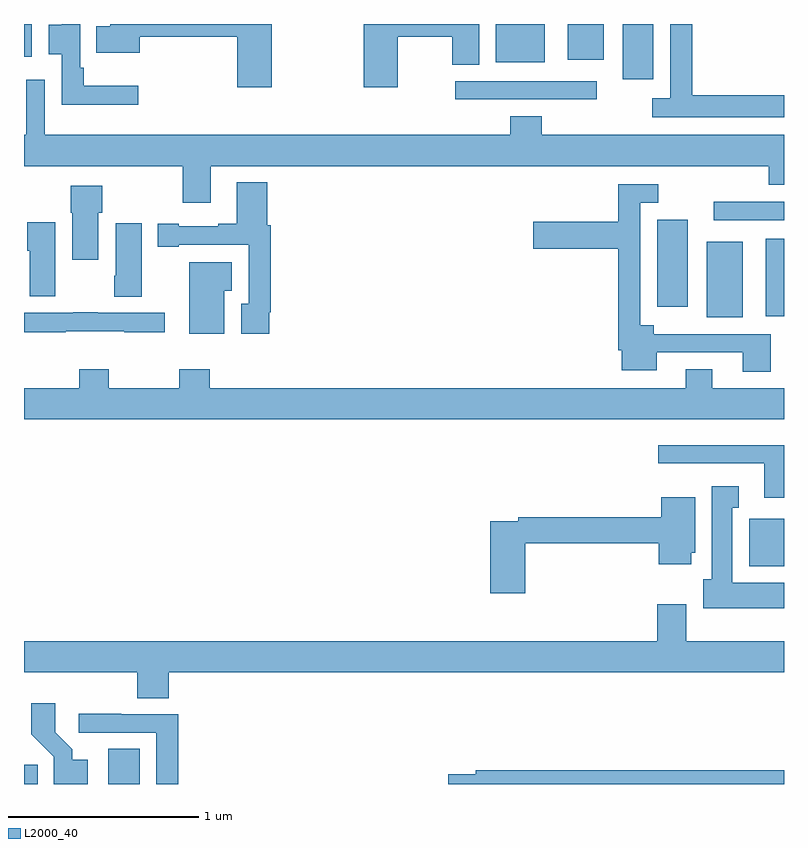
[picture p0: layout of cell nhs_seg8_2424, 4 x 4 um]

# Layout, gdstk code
import gdstk
lib = gdstk.Library(unit=1e-6, precision=1e-09)
def R(c, l, rs):  # rectangles x0, y0, x1, y1
    for r in rs: c.add(gdstk.rectangle(r[:2], r[2:], *l))
def P(c, l, *ps):  # polygons
    for p in ps: c.add(gdstk.Polygon(p, *l))
L2000_40 = (2000, 40)

nhs_seg8_2424 = lib.new_cell('nhs_seg8_2424')
R(nhs_seg8_2424, L2000_40, [(263,1127.9,263.072,1128.002), (263.444,1127.9,263.608,1128.085), (266.817,1129.046,267,1129.296), (266.594,1130.357,266.782,1130.755), (266.903,1130.363,267,1130.77), (266.333,1130.412,266.494,1130.869), (266.631,1130.868,267,1130.964), (265.269,1131.504,266.014,1131.6), (266.15,1131.609,266.311,1131.9), (265.484,1131.698,265.741,1131.9), (265.862,1131.713,266.05,1131.9), (263,1131.728,263.04,1131.9)])
P(nhs_seg8_2424, L2000_40, [(264.305,1131.9),(263.453,1131.9),(263.453,1131.889),(263.38,1131.889),(263.38,1131.749),(263.608,1131.749),(263.608,1131.832),(264.122,1131.832),(264.122,1131.567),(264.305,1131.567)],
  [(263.602,1131.574),(263.315,1131.574),(263.315,1131.67),(263.295,1131.67),(263.295,1131.9),(263.199,1131.9),(263.199,1131.897),(263.129,1131.897),(263.129,1131.742),(263.199,1131.742),(263.199,1131.476),(263.602,1131.476)],
  [(267,1131.524),(266.516,1131.524),(266.516,1131.9),(266.4,1131.9),(266.4,1131.508),(266.307,1131.508),(266.307,1131.408),(267,1131.408)],
  [(264.966,1131.832),(265.255,1131.832),(265.255,1131.685),(265.396,1131.685),(265.396,1131.9),(264.788,1131.9),(264.788,1131.567),(264.966,1131.567)],
  [(263.983,1131.152),(266.921,1131.152),(266.921,1131.053),(267,1131.053),(267,1131.316),(265.724,1131.316),(265.724,1131.415),(265.559,1131.415),(265.559,1131.316),(263.109,1131.316),(263.109,1131.607),(263.013,1131.607),(263.013,1131.316),(263,1131.316),(263,1131.152),(263.836,1131.152),(263.836,1130.958),(263.983,1130.958)],
  [(264.292,1130.383),(264.299,1130.383),(264.299,1130.842),(264.28,1130.842),(264.28,1131.067),(264.119,1131.067),(264.119,1130.848),(264.023,1130.848),(264.023,1130.835),(263.815,1130.835),(263.815,1130.848),(263.705,1130.848),(263.705,1130.727),(263.815,1130.727),(263.815,1130.739),(264.183,1130.739),(264.183,1130.427),(264.143,1130.427),(264.143,1130.271),(264.292,1130.271)],
  [(266.931,1130.268),(266.314,1130.268),(266.314,1130.314),(266.244,1130.314),(266.244,1130.96),(266.338,1130.96),(266.338,1131.057),(266.128,1131.057),(266.128,1130.859),(265.68,1130.859),(265.68,1130.717),(266.128,1130.717),(266.128,1130.182),(266.147,1130.182),(266.147,1130.078),(266.329,1130.078),(266.329,1130.172),(266.783,1130.172),(266.783,1130.07),(266.931,1130.07)],
  [(263.392,1130.907),(263.412,1130.907),(263.412,1131.049),(263.246,1131.049),(263.246,1130.907),(263.255,1130.907),(263.255,1130.658),(263.392,1130.658)],
  [(263.164,1130.857),(263.018,1130.857),(263.018,1130.706),(263.03,1130.706),(263.03,1130.468),(263.164,1130.468)],
  [(263.62,1130.851),(263.483,1130.851),(263.483,1130.575),(263.476,1130.575),(263.476,1130.464),(263.62,1130.464)],
  [(264.055,1130.495),(264.094,1130.495),(264.094,1130.647),(263.87,1130.647),(263.87,1130.27),(264.055,1130.27)],
  [(263.221,1130.282),(263.527,1130.282),(263.527,1130.278),(263.74,1130.278),(263.74,1130.379),(263.387,1130.379),(263.387,1130.384),(263.26,1130.384),(263.26,1130.379),(263,1130.379),(263,1130.278),(263.221,1130.278)],
  [(267,1129.984),(266.623,1129.984),(266.623,1130.083),(266.483,1130.083),(266.483,1129.984),(263.978,1129.984),(263.978,1130.083),(263.818,1130.083),(263.818,1129.984),(263.445,1129.984),(263.445,1130.083),(263.29,1130.083),(263.29,1129.984),(263,1129.984),(263,1129.82),(267,1129.82)],
  [(267,1129.684),(266.337,1129.684),(266.337,1129.587),(266.897,1129.587),(266.897,1129.406),(267,1129.406)],
  [(267,1128.958),(266.728,1128.958),(266.728,1129.355),(266.761,1129.355),(266.761,1129.468),(266.621,1129.468),(266.621,1128.978),(266.576,1128.978),(266.576,1128.824),(267,1128.824)],
  [(265.637,1129.168),(266.342,1129.168),(266.342,1129.056),(266.512,1129.056),(266.512,1129.116),(266.533,1129.116),(266.533,1129.408),(266.354,1129.408),(266.354,1129.304),(265.6,1129.304),(265.6,1129.284),(265.454,1129.284),(265.454,1128.903),(265.637,1128.903)],
  [(263.762,1128.488),(267,1128.488),(267,1128.652),(266.485,1128.652),(266.485,1128.847),(266.333,1128.847),(266.333,1128.652),(263,1128.652),(263,1128.488),(263.597,1128.488),(263.597,1128.352),(263.762,1128.352)],
  [(263.335,1128.028),(263.254,1128.028),(263.254,1128.083),(263.164,1128.173),(263.164,1128.325),(263.038,1128.325),(263.038,1128.162),(263.157,1128.043),(263.157,1127.9),(263.335,1127.9)],
  [(263.813,1128.267),(263.513,1128.267),(263.513,1128.27),(263.289,1128.27),(263.289,1128.171),(263.697,1128.171),(263.697,1127.9),(263.813,1127.9)],
  [(267,1127.972),(265.378,1127.972),(265.378,1127.952),(265.232,1127.952),(265.232,1127.9),(267,1127.9)])

lib.write_gds('nhs_seg8_2424.gds')
